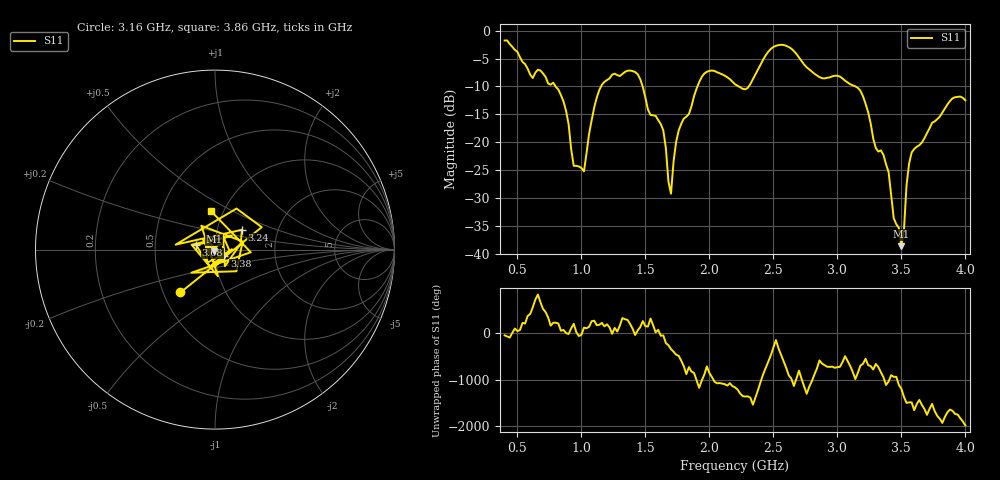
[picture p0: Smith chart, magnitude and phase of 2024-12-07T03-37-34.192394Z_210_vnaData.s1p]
!Created with skrf (http://scikit-rf.org).
# Hz S RI R 50.0
!freq ReS11 ImS11
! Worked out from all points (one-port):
!   181 points, 400 MHz to 4 GHz, reference 50 ohm
!   lowest |S11| = -38.7 dB at 3.5 GHz (marker M1), VSWR 1.02, Z = 49.4 - j1.02 ohm
!   |S11| at or under -10 dB: 798.1 MHz to 1.154 GHz (355.6 MHz wide, 36.4 % of centre); 1.478 GHz to 1.907 GHz (428.2 MHz wide, 25.3 % of centre); 3.141 GHz to end of sweep (the widest 3 of 4)
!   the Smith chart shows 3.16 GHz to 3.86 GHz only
!   S11 on the Smith chart (normalised r, x): 3.16 GHz: 0.61, -0.32; 3.24 GHz: 1.31, +0.30; 3.38 GHz: 1.11, -0.08; 3.68 GHz: 0.81, +0.04; 3.86 GHz: 0.87, +0.40
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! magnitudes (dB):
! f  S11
! 400 MHz  -1.8
! 860 MHz  -12.7
! 940 MHz  -24.2
! 1.02 GHz  -25.2
! 1.14 GHz  -10.6
! 1.3 GHz  -8.1
! 1.44 GHz  -7.8
! 1.52 GHz  -14.2
! 1.62 GHz  -16.7
! 1.7 GHz  -29.2
! 1.72 GHz  -23.4
! 1.76 GHz  -17.9
! 1.96 GHz  -7.7
! 2.2 GHz  -9.6
! 2.3 GHz  -10.3
! 2.5 GHz  -2.9
! 2.66 GHz  -3.7
! 3.1 GHz  -9.6
! 3.16 GHz  -10.3
! 3.24 GHz  -14.6
! 3.3 GHz  -21.0
! 3.38 GHz  -24.0
! 3.44 GHz  -33.6
! 3.5 GHz  -38.7
! 3.56 GHz  -23.9
! 3.68 GHz  -19.3
! 3.86 GHz  -13.2
! 4 GHz  -12.5
